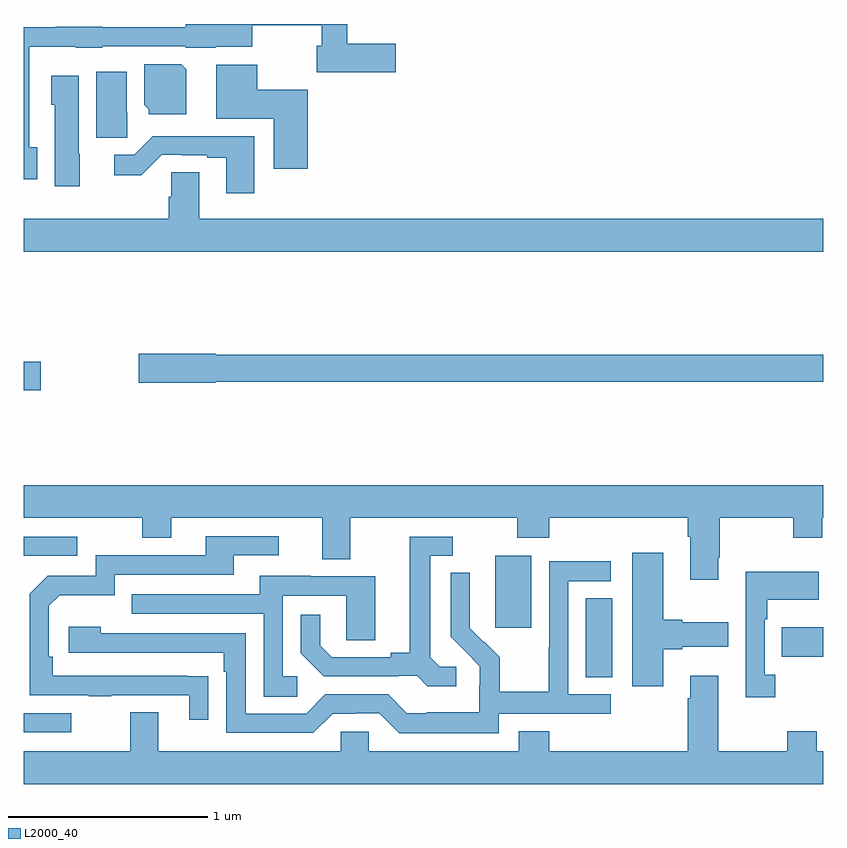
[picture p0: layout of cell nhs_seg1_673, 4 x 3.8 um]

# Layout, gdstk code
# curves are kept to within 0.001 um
import gdstk
lib = gdstk.Library(unit=1e-6, precision=1e-09)
def R(c, l, rs):  # rectangles x0, y0, x1, y1
    for r in rs: c.add(gdstk.rectangle(r[:2], r[2:], *l))
def P(c, l, *ps):  # polygons
    for p in ps: c.add(gdstk.Polygon(p, *l))
L2000_40 = (2000, 40)

nhs_seg1_673 = lib.new_cell('nhs_seg1_673')
R(nhs_seg1_673, L2000_40, [(147,554.655,147.238,554.751), (149.813,554.929,149.944,555.326), (150.793,555.034,151,555.181), (149.36,555.177,149.539,555.538), (147,555.537,147.268,555.633), (147,556.366,147.085,556.508)])
P(nhs_seg1_673, L2000_40, [(147.067,557.582),(147.027,557.582),(147.027,558.086),(147.261,558.086),(147.261,558.08),(147.393,558.08),(147.393,558.087),(147.81,558.087),(147.81,558.08),(147.96,558.08),(147.96,558.086),(148.144,558.086),(148.144,558.192),(148.491,558.192),(148.491,558.091),(148.465,558.091),(148.465,557.957),(148.861,557.957),(148.861,558.099),(148.619,558.099),(148.619,558.199),(147.81,558.199),(147.81,558.183),(147.393,558.183),(147.393,558.185),(147.161,558.185),(147.161,558.183),(147,558.183),(147,557.421),(147.067,557.421)],
  [(147.814,557.972),(147.788,557.998),(147.602,557.998),(147.602,557.794),(147.624,557.772),(147.624,557.747),(147.814,557.747)],
  [(148.421,557.869),(148.168,557.869),(148.168,557.996),(147.962,557.996),(147.962,557.726),(148.25,557.726),(148.25,557.475),(148.421,557.475)],
  [(147.518,557.754),(147.514,557.754),(147.514,557.959),(147.362,557.959),(147.362,557.631),(147.518,557.631)],
  [(147.28,557.55),(147.274,557.55),(147.274,557.941),(147.137,557.941),(147.137,557.796),(147.155,557.796),(147.155,557.388),(147.28,557.388)],
  [(148.153,557.638),(147.646,557.638),(147.552,557.544),(147.453,557.544),(147.453,557.442),(147.588,557.442),(147.69,557.544),(147.79,557.544),(147.79,557.541),(147.917,557.541),(147.917,557.529),(148.013,557.529),(148.013,557.352),(148.153,557.352)],
  [(151,557.224),(147.877,557.224),(147.877,557.456),(147.738,557.456),(147.738,557.334),(147.725,557.334),(147.725,557.224),(147,557.224),(147,557.06),(151,557.06)],
  [(147.96,556.408),(151,556.408),(151,556.544),(147.96,556.544),(147.96,556.55),(147.576,556.55),(147.576,556.403),(147.96,556.403)],
  [(147,555.728),(147.592,555.728),(147.592,555.629),(147.739,555.629),(147.739,555.728),(148.493,555.728),(148.493,555.52),(148.633,555.52),(148.633,555.728),(149.47,555.728),(149.47,555.629),(149.63,555.629),(149.63,555.728),(150.323,555.728),(150.323,555.632),(150.335,555.632),(150.335,555.417),(150.475,555.417),(150.475,555.529),(150.483,555.529),(150.483,555.728),(150.85,555.728),(150.85,555.629),(150.996,555.629),(150.996,555.728),(151,555.728),(151,555.892),(147,555.892)],
  [(147.923,554.936),(147.146,554.937),(147.146,555.034),(147.126,555.034),(147.126,555.288),(147.179,555.341),(147.456,555.341),(147.456,555.444),(148.051,555.444),(148.051,555.54),(148.276,555.54),(148.276,555.636),(147.911,555.636),(147.911,555.54),(147.36,555.54),(147.36,555.438),(147.12,555.438),(147.03,555.348),(147.03,554.841),(147.325,554.841),(147.325,554.836),(147.437,554.836),(147.437,554.841),(147.827,554.841),(147.827,554.718),(147.923,554.718)],
  [(149.164,554.982),(149.082,554.982),(149.035,555.029),(149.035,555.537),(149.146,555.537),(149.146,555.633),(148.931,555.633),(148.931,555.053),(148.835,555.053),(148.835,555.03),(148.54,555.03),(148.483,555.087),(148.483,555.244),(148.386,555.244),(148.386,555.05),(148.502,554.934),(148.874,554.934),(148.874,554.937),(148.968,554.937),(149.02,554.885),(149.164,554.885)],
  [(150.199,555.071),(150.295,555.071),(150.295,555.083),(150.526,555.083),(150.526,555.205),(150.295,555.205),(150.295,555.218),(150.199,555.218),(150.199,555.553),(150.044,555.553),(150.044,554.886),(150.199,554.886)],
  [(149.376,554.748),(149.938,554.748),(149.938,554.844),(149.724,554.844),(149.724,555.411),(149.938,555.411),(149.938,555.51),(149.628,555.51),(149.628,555.08),(149.626,555.08),(149.626,554.857),(149.381,554.857),(149.381,555.031),(149.304,555.108),(149.301,555.105),(149.231,555.176),(149.232,555.452),(149.136,555.452),(149.136,555.134),(149.282,554.986),(149.282,554.889),(149.28,554.889),(149.28,554.755),(149.017,554.755),(149.017,554.751),(148.917,554.751),(148.824,554.844),(148.509,554.844),(148.413,554.748),(148.11,554.748),(148.11,555.15),(147.386,555.15),(147.386,555.184),(147.225,555.184),(147.225,555.054),(148.001,555.054),(148.001,554.957),(148.014,554.957),(148.014,554.652),(148.449,554.652),(148.545,554.748),(148.664,554.748),(148.664,554.751),(148.779,554.751),(148.879,554.651),(149.376,554.651)],
  [(150.76,554.942),(150.708,554.942),(150.708,555.221),(150.721,555.221),(150.721,555.317),(150.977,555.317),(150.977,555.457),(150.612,555.457),(150.612,554.829),(150.76,554.829)],
  [(148.369,554.934),(148.296,554.934),(148.296,555.339),(148.614,555.339),(148.614,555.115),(148.759,555.115),(148.759,555.435),(148.435,555.435),(148.435,555.439),(148.181,555.439),(148.181,555.345),(147.541,555.345),(147.541,555.249),(148.2,555.249),(148.2,554.833),(148.369,554.833)],
  [(151,554.56),(150.967,554.56),(150.967,554.659),(150.82,554.659),(150.82,554.56),(150.475,554.56),(150.475,554.938),(150.335,554.938),(150.335,554.825),(150.323,554.825),(150.323,554.56),(149.63,554.56),(149.63,554.659),(149.477,554.659),(149.477,554.56),(148.725,554.56),(148.725,554.658),(148.587,554.658),(148.587,554.56),(147.673,554.56),(147.673,554.755),(147.533,554.755),(147.533,554.56),(147,554.56),(147,554.396),(151,554.396)])

lib.write_gds('nhs_seg1_673.gds')
